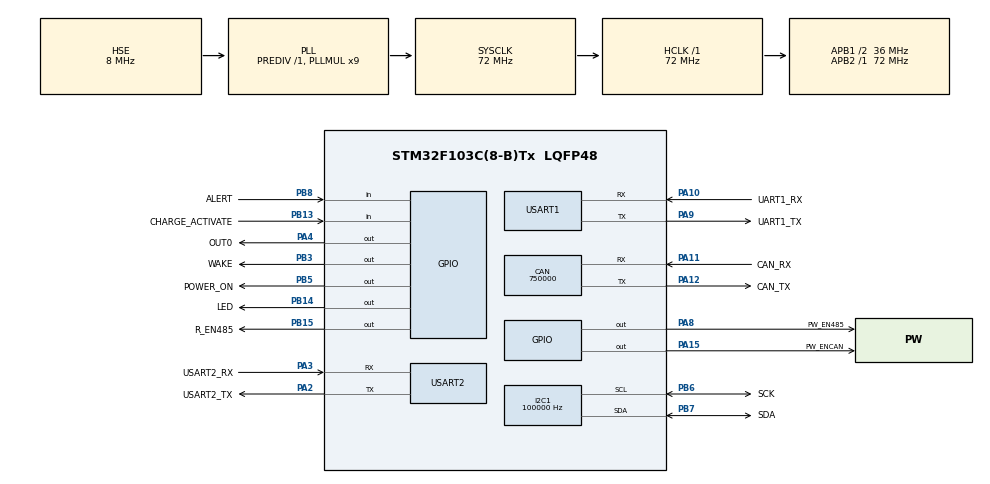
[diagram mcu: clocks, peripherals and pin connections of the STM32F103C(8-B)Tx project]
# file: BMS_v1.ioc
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CAN.BS1=CAN_BS1_1TQ
CAN.BS2=CAN_BS2_1TQ
CAN.CalculateBaudRate=750000
CAN.CalculateTimeBit=1333.33
CAN.CalculateTimeQuantum=444.44444444444446
Dma.Request0=USART1_TX
Dma.Request1=USART1_RX
Dma.USART1_RX.1.Direction=DMA_PERIPH_TO_MEMORY
Dma.USART1_RX.1.Instance=DMA1_Channel5
Dma.USART1_RX.1.MemDataAlignment=DMA_MDATAALIGN_BYTE
Dma.USART1_RX.1.MemInc=DMA_MINC_ENABLE
Dma.USART1_RX.1.Mode=DMA_NORMAL
Dma.USART1_RX.1.PeriphDataAlignment=DMA_PDATAALIGN_BYTE
Dma.USART1_RX.1.PeriphInc=DMA_PINC_DISABLE
Dma.USART1_RX.1.Priority=DMA_PRIORITY_LOW
Dma.USART1_TX.0.Direction=DMA_MEMORY_TO_PERIPH
Dma.USART1_TX.0.Instance=DMA1_Channel4
Dma.USART1_TX.0.MemDataAlignment=DMA_MDATAALIGN_BYTE
Dma.USART1_TX.0.MemInc=DMA_MINC_ENABLE
Dma.USART1_TX.0.Mode=DMA_CIRCULAR
Dma.USART1_TX.0.PeriphDataAlignment=DMA_PDATAALIGN_BYTE
Dma.USART1_TX.0.PeriphInc=DMA_PINC_DISABLE
Dma.USART1_TX.0.Priority=DMA_PRIORITY_LOW
FREERTOS.Queues01=battery_status_bq769xx_to_soc,1,BatteryStatusStructure,0,Dynamic,NULL,NULL;soc_status_soc_to_publish,1,SocStatusStructure,0,Dynamic,NULL,NULL;battery_status_bq769xx_to_publish,1,BatteryStatusStructure,0,Dynamic,NULL,NULL
FREERTOS.Tasks01=startTask,24,128,StartTaskFunc,Default,NULL,Dynamic,NULL,NULL
FREERTOS.configMAX_TASK_NAME_LEN=32
FREERTOS.configMINIMAL_STACK_SIZE=64
FREERTOS.configTOTAL_HEAP_SIZE=10240
I2C1.ClockSpeed=100000
Mcu.Family=STM32F1
Mcu.Name=STM32F103C(8-B)Tx
Mcu.Package=LQFP48
NVIC.DMA1_Channel4_IRQn=true\:5\:0\:false\:false\:true\:true\:false\:true
NVIC.DMA1_Channel5_IRQn=true\:5\:0\:false\:false\:true\:true\:false\:true
NVIC.PriorityGroup=NVIC_PRIORITYGROUP_4
NVIC.TIM1_UP_IRQn=true\:15\:0\:false\:false\:true\:false\:false\:true
NVIC.TimeBase=TIM1_UP_IRQn
NVIC.TimeBaseIP=TIM1
NVIC.USART1_IRQn=true\:5\:0\:false\:false\:true\:true\:true\:true
PA10.GPIO_Label=UART1_RX
PA10.Mode=Asynchronous
PA10.Signal=USART1_RX
PA11.GPIO_Label=CAN_RX
PA11.Mode=CAN_Activate
PA11.Signal=CAN_RX
PA12.GPIO_Label=CAN_TX
PA12.Mode=CAN_Activate
PA12.Signal=CAN_TX
PA13.Mode=Serial_Wire
PA13.Signal=SYS_JTMS-SWDIO
PA14.Mode=Serial_Wire
PA14.Signal=SYS_JTCK-SWCLK
PA15.GPIO_Label=PW_ENCAN
PA15.GPIO_Speed=GPIO_SPEED_FREQ_MEDIUM
PA15.Signal=GPIO_Output
PA2.GPIO_Label=USART2_TX
PA2.Mode=Asynchronous
PA2.Signal=USART2_TX
PA3.GPIO_Label=USART2_RX
PA3.Mode=Asynchronous
PA3.Signal=USART2_RX
PA4.GPIO_Label=OUT0
PA4.GPIO_Speed=GPIO_SPEED_FREQ_MEDIUM
PA4.Signal=GPIO_Output
PA8.GPIO_Label=PW_EN485
PA8.GPIO_PuPd=GPIO_NOPULL
PA8.GPIO_Speed=GPIO_SPEED_FREQ_MEDIUM
PA8.Signal=GPIO_Output
PA9.GPIO_Label=UART1_TX
PA9.Mode=Asynchronous
PA9.Signal=USART1_TX
PB13.GPIO_Label=CHARGE_ACTIVATE
PB13.Signal=GPIO_Input
PB14.GPIO_Label=LED
PB14.PinState=GPIO_PIN_SET
PB14.Signal=GPIO_Output
PB15.GPIO_Label=R_EN485
PB15.GPIO_Speed=GPIO_SPEED_FREQ_MEDIUM
PB15.PinState=GPIO_PIN_RESET
PB15.Signal=GPIO_Output
PB3.GPIO_Label=WAKE
PB3.GPIO_Speed=GPIO_SPEED_FREQ_MEDIUM
PB3.Signal=GPIO_Output
PB5.GPIO_Label=POWER_ON
PB5.GPIO_Speed=GPIO_SPEED_FREQ_MEDIUM
PB5.PinState=GPIO_PIN_SET
PB5.Signal=GPIO_Output
PB6.GPIO_Label=SCK
PB6.Mode=I2C
PB6.Signal=I2C1_SCL
PB7.GPIO_Label=SDA
PB7.Mode=I2C
PB7.Signal=I2C1_SDA
PB8.GPIO_Label=ALERT
PB8.Signal=GPIO_Input
PD0-OSC_IN.Mode=HSE-External-Oscillator
PD0-OSC_IN.Signal=RCC_OSC_IN
PD1-OSC_OUT.Mode=HSE-External-Oscillator
PD1-OSC_OUT.Signal=RCC_OSC_OUT
ProjectManager.HeapSize=0x200
ProjectManager.StackSize=0x400
ProjectManager.TargetToolchain=MDK-ARM V5.27
RCC.AHBFreq_Value=72000000
RCC.APB1CLKDivider=RCC_HCLK_DIV2
RCC.APB1Freq_Value=36000000
RCC.APB1TimFreq_Value=72000000
RCC.APB2Freq_Value=72000000
RCC.APB2TimFreq_Value=72000000
RCC.HCLKFreq_Value=72000000
RCC.PLLMUL=RCC_PLL_MUL9
RCC.PLLSourceVirtual=RCC_PLLSOURCE_HSE
RCC.SYSCLKFreq_VALUE=72000000
RCC.SYSCLKSource=RCC_SYSCLKSOURCE_PLLCLK
RCC.USBFreq_Value=72000000
USART1.VirtualMode=VM_ASYNC
USART2.VirtualMode=VM_ASYNC
VP_FREERTOS_VS_CMSIS_V2.Mode=CMSIS_V2
VP_SYS_VS_tim1.Mode=TIM1
board=custom

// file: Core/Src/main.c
/* USER CODE BEGIN Header */
/**
  ******************************************************************************
  * @file           : main.c
  * @brief          : Main program body
  ******************************************************************************
  * @attention
  *
  * <h2><center>&copy; Copyright (c) 2022 STMicroelectronics.
  * All rights reserved.</center></h2>
  *
  * This software component is licensed by ST under Ultimate Liberty license
  * SLA0044, the "License"; You may not use this file except in compliance with
  * the License. You may obtain a copy of the License at:
  *                             www.st.com/SLA0044
  *
  ******************************************************************************
  */
/* USER CODE END Header */
#include "main.h"
#include "cmsis_os.h"
#include "can.h"
#include "dma.h"
#include "i2c.h"
#include "usart.h"
#include "gpio.h"

void SystemClock_Config(void);
void MX_FREERTOS_Init(void);

/* USER CODE BEGIN 0 */

/* 将printf函数输出重定向到串口 */
int fputc(int ch, FILE *f)
{
  HAL_UART_Transmit(&huart1, (uint8_t *)&ch, 1, 0xFFFF);
  return ch;
}

/* USER CODE END 0 */

int main(void)
{

  /* MCU Configuration--------------------------------------------------------*/

  /* Reset of all peripherals, Initializes the Flash interface and the Systick. */
  HAL_Init();

  /* Configure the system clock */
  SystemClock_Config();

  /* Initialize all configured peripherals */
  MX_GPIO_Init();
  MX_CAN_Init();
  MX_I2C1_Init();
  MX_USART1_UART_Init();
  MX_DMA_Init();
  MX_USART2_UART_Init();
  /* USER CODE BEGIN 2 */
  Power_On_Off(POWER_MODE_HARDWARE, POWER_ON);
  System_Init();
  BQ769xx_Init();

  /* USER CODE END 2 */

  /* Init scheduler */
  osKernelInitialize();  /* Call init function for freertos objects (in freertos.c) */
  MX_FREERTOS_Init();
  /* Start scheduler */
  osKernelStart();

  /* We should never get here as control is now taken by the scheduler */
  /* Infinite loop */
  while (1)
  {

  }
}

void SystemClock_Config(void)
{
  RCC_OscInitTypeDef RCC_OscInitStruct = {0};
  RCC_ClkInitTypeDef RCC_ClkInitStruct = {0};

  /** Initializes the RCC Oscillators according to the specified parameters
  * in the RCC_OscInitTypeDef structure.
  */
  RCC_OscInitStruct.OscillatorType = RCC_OSCILLATORTYPE_HSE;
  RCC_OscInitStruct.HSEState = RCC_HSE_ON;
  RCC_OscInitStruct.HSEPredivValue = RCC_HSE_PREDIV_DIV1;
  RCC_OscInitStruct.HSIState = RCC_HSI_ON;
  RCC_OscInitStruct.PLL.PLLState = RCC_PLL_ON;
  RCC_OscInitStruct.PLL.PLLSource = RCC_PLLSOURCE_HSE;
  RCC_OscInitStruct.PLL.PLLMUL = RCC_PLL_MUL9;
  if (HAL_RCC_OscConfig(&RCC_OscInitStruct) != HAL_OK)
  {
    Error_Handler();
  }
  /** Initializes the CPU, AHB and APB buses clocks
  */
  RCC_ClkInitStruct.ClockType = RCC_CLOCKTYPE_HCLK|RCC_CLOCKTYPE_SYSCLK
                              |RCC_CLOCKTYPE_PCLK1|RCC_CLOCKTYPE_PCLK2;
  RCC_ClkInitStruct.SYSCLKSource = RCC_SYSCLKSOURCE_PLLCLK;
  RCC_ClkInitStruct.AHBCLKDivider = RCC_SYSCLK_DIV1;
  RCC_ClkInitStruct.APB1CLKDivider = RCC_HCLK_DIV2;
  RCC_ClkInitStruct.APB2CLKDivider = RCC_HCLK_DIV1;

  if (HAL_RCC_ClockConfig(&RCC_ClkInitStruct, FLASH_LATENCY_2) != HAL_OK)
  {
    Error_Handler();
  }
}

void HAL_TIM_PeriodElapsedCallback(TIM_HandleTypeDef *htim)
{
  if (htim->Instance == TIM1) {
    HAL_IncTick();
  }
}

void Error_Handler(void)
{
  __disable_irq();
  while (1)
  {
  }
}

/************************ (C) COPYRIGHT STMicroelectronics *****END OF FILE****/

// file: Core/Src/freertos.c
/* USER CODE BEGIN Header */
/**
  ******************************************************************************
  * File Name          : freertos.c
  * Description        : Code for freertos applications
  ******************************************************************************
  * @attention
  *
  * <h2><center>&copy; Copyright (c) 2022 STMicroelectronics.
  * All rights reserved.</center></h2>
  *
  * This software component is licensed by ST under Ultimate Liberty license
  * SLA0044, the "License"; You may not use this file except in compliance with
  * the License. You may obtain a copy of the License at:
  *                             www.st.com/SLA0044
  *
  ******************************************************************************
  */
/* USER CODE END Header */

#include "FreeRTOS.h"
#include "task.h"
#include "main.h"
#include "cmsis_os.h"

/* USER CODE BEGIN PD */
osThreadId_t ledTaskHandle;
const osThreadAttr_t ledTask_attributes = {
  .name = "ledTask",
  .stack_size = 128,
  .priority = (osPriority_t) osPriorityLow,
};

osThreadId_t bq769xxTaskHandle;
const osThreadAttr_t bq769xxTask_attributes = {
  .name = "bq769xxTask",
  .stack_size = 256,
  .priority = (osPriority_t) osPriorityRealtime,
};

osThreadId_t socTaskHandle;
const osThreadAttr_t socTask_attributes = {
  .name = "socTask",
  .stack_size = 512,
  .priority = (osPriority_t) osPriorityHigh,
};

osThreadId_t publishstatusTaskHandle;
const osThreadAttr_t publishstatusTask_attributes = {
  .name = "publishstatusTask",
  .stack_size = 1024,
  .priority = (osPriority_t) osPriorityNormal,
};

/* USER CODE END PD */

/* Definitions for startTask */
osThreadId_t startTaskHandle;
const osThreadAttr_t startTask_attributes = {
  .name = "startTask",
  .stack_size = 128 * 4,
  .priority = (osPriority_t) osPriorityNormal,
};
/* Definitions for battery_status_bq769xx_to_soc */
osMessageQueueId_t battery_status_bq769xx_to_socHandle;
const osMessageQueueAttr_t battery_status_bq769xx_to_soc_attributes = {
  .name = "battery_status_bq769xx_to_soc"
};
/* Definitions for soc_status_soc_to_publish */
osMessageQueueId_t soc_status_soc_to_publishHandle;
const osMessageQueueAttr_t soc_status_soc_to_publish_attributes = {
  .name = "soc_status_soc_to_publish"
};
/* Definitions for battery_status_bq769xx_to_publish */
osMessageQueueId_t battery_status_bq769xx_to_publishHandle;
const osMessageQueueAttr_t battery_status_bq769xx_to_publish_attributes = {
  .name = "battery_status_bq769xx_to_publish"
};

/* USER CODE BEGIN FunctionPrototypes */
void LedTaskFunc(void *argument);
void Bq769xxTaskFunc(void *argument);
void SocEstimatorFunc(void *argument);
void PublishStatusFunc(void *argument);

/* USER CODE END FunctionPrototypes */

void StartTaskFunc(void *argument);

void MX_FREERTOS_Init(void); /* (MISRA C 2004 rule 8.1) */

void MX_FREERTOS_Init(void) {

  /* Create the queue(s) */
  /* creation of battery_status_bq769xx_to_soc */
  battery_status_bq769xx_to_socHandle = osMessageQueueNew (1, sizeof(BatteryStatusStructure), &battery_status_bq769xx_to_soc_attributes);

  /* creation of soc_status_soc_to_publish */
  soc_status_soc_to_publishHandle = osMessageQueueNew (1, sizeof(SocStatusStructure), &soc_status_soc_to_publish_attributes);

  /* creation of battery_status_bq769xx_to_publish */
  battery_status_bq769xx_to_publishHandle = osMessageQueueNew (1, sizeof(BatteryStatusStructure), &battery_status_bq769xx_to_publish_attributes);

  /* Create the thread(s) */
  /* creation of startTask */
  startTaskHandle = osThreadNew(StartTaskFunc, NULL, &startTask_attributes);

  /* USER CODE BEGIN RTOS_THREADS */
  /* creation of rtos_threads */
  /* USER CODE END RTOS_THREADS */

}

void StartTaskFunc(void *argument)
{
  /* USER CODE BEGIN StartTaskFunc */
  ledTaskHandle = osThreadNew(LedTaskFunc, NULL, &ledTask_attributes);
  if (NULL == ledTaskHandle) {
    RTOS_ERROR("%s is NULL", ledTask_attributes.name);
  }
  bq769xxTaskHandle = osThreadNew(Bq769xxTaskFunc, NULL, &bq769xxTask_attributes);
  if (NULL == bq769xxTaskHandle) {
    RTOS_ERROR("%s is NULL", bq769xxTask_attributes.name);
  }
  socTaskHandle = osThreadNew(SocEstimatorFunc, NULL, &socTask_attributes);
  if (NULL == socTaskHandle) {
    RTOS_ERROR("%s is NULL", socTask_attributes.name);
  }
  publishstatusTaskHandle = osThreadNew(PublishStatusFunc, NULL, &publishstatusTask_attributes);
  if (NULL == publishstatusTaskHandle) {
    RTOS_ERROR("%s is NULL", publishstatusTask_attributes.name);
  }

  vTaskDelete(NULL);

  osThreadExit();

  /* USER CODE END StartTaskFunc */
}

/* USER CODE BEGIN Application */
void LedTaskFunc(void *argument)
{
  for(;;)
  {
    led_flash();
  }
}

void Bq769xxTaskFunc(void *argument)
{
  for(;;)
  {
    osDelay(10);
    system_discharge_check();
    BQ769xx_get_data();
    battery_status_publish();
  }
}

void SocEstimatorFunc(void *argument)
{
  for(;;)
  {
    osDelay(50);
    soc_update();
  }
}

void PublishStatusFunc(void *argument)
{
  osDelay(3000);
  for(;;)
  {
    osDelay(50);
    publish_update();
  }
}

/* USER CODE END Application */

/************************ (C) COPYRIGHT STMicroelectronics *****END OF FILE****/
